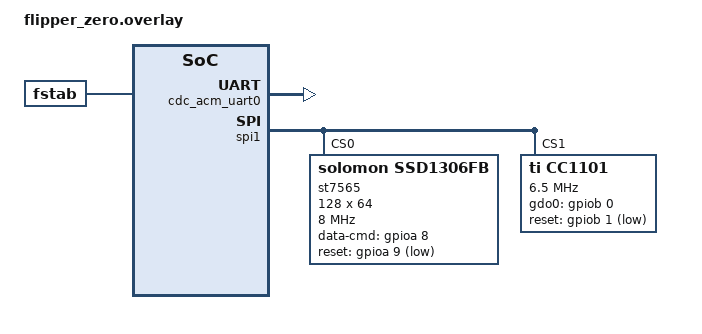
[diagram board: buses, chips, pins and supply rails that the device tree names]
/*
 * AkiraOS overlay for Flipper Zero
 *
 * Augments flipper_zero.dts with AkiraOS-specific configuration:
 *   - Flash partition table (MCUboot + OTA + NVS + LittleFS)
 *   - SPI device nodes (ST7565 display via SSD1306-compat driver, CC1101 sub-GHz)
 *   - LittleFS fstab
 *   - chosen node overrides (display, code-partition)
 *
 * Flash layout (1 MB, STM32WB55RG — wireless HCI firmware at ≥0x080DB000):
 *   0x000000  48KB  MCUboot bootloader
 *   0x00C000 400KB  Primary application slot (image-0)
 *   0x070000 400KB  OTA secondary slot (image-1)
 *   0x0D4000   8KB  NVS settings
 *   0x0D6000  20KB  LittleFS user storage  [→ ends at 0x0DB000]
 *   0x0DB000+       STM32WB M0+ BLE HCI-only wireless binary (unmanaged)
 *
 * Note: image must stay ≤ 399.5 KB (400 KB minus 512-byte MCUboot header).
 * With WAMR AOT-only (no interpreter), the AkiraOS image is ~340 KB.
 */

#include <zephyr/dt-bindings/input/input-event-codes.h>

/ {
	chosen {
		zephyr,code-partition = &slot0_partition;
		zephyr,display        = &st7565;
	};

	fstab {
		compatible = "zephyr,fstab";

		lfs1: lfs1 {
			compatible = "zephyr,fstab,littlefs";
			read-size      = <1>;
			prog-size      = <8>;
			cache-size     = <64>;
			lookahead-size = <32>;
			block-cycles   = <512>;
		partition      = <&lfs1_partition>;
			mount-point    = "/lfs";
		};
	};
};

&flash0 {
	partitions {
		compatible = "fixed-partitions";
		#address-cells = <1>;
		#size-cells = <1>;

		boot_partition: partition@0 {
			label = "mcuboot";
			reg = <0x00000000 DT_SIZE_K(48)>;
			read-only;
		};

		slot0_partition: partition@c000 {
			label = "image-0";
			reg = <0x0000c000 DT_SIZE_K(400)>;
		};

		slot1_partition: partition@70000 {
			label = "image-1";
			reg = <0x00070000 DT_SIZE_K(400)>;
		};

		akira_settings_nvs_partition: partition@d4000 {
			label = "akira_settings_nvs";
			reg = <0x000d4000 DT_SIZE_K(8)>;
		};

		storage_partition: lfs1_partition: partition@d6000 {
			label = "lfs_storage";
			reg = <0x000d6000 DT_SIZE_K(20)>;
		};
	};
};

&zephyr_udc0 {
	cdc_acm_uart0: cdc_acm_uart0 {
		compatible = "zephyr,cdc-acm-uart";
	};
};

&spi1 {
	st7565: st7565@0 {
		compatible = "solomon,ssd1306fb";
		reg = <0>;
		spi-max-frequency = <8000000>;
		width  = <128>;
		height = <64>;
		data-cmd-gpios = <&gpioa 8 GPIO_ACTIVE_HIGH>;
		reset-gpios     = <&gpioa 9 GPIO_ACTIVE_LOW>;
		segment-offset  = <0>;
		page-offset     = <0>;
		display-offset  = <0>;
		multiplex-ratio = <63>;
		prechargep      = <0x22>;
		segment-remap;
		com-invdir;
	};

	cc1101: cc1101@1 {
		compatible = "ti,cc1101";
		reg = <1>;
		spi-max-frequency = <6500000>;
		gdo0-gpios  = <&gpiob 0 (GPIO_PULL_DOWN | GPIO_ACTIVE_HIGH)>;
		reset-gpios = <&gpiob 1 GPIO_ACTIVE_LOW>;
		akira,default-frequency-hz = <433920000>;
		akira,default-tx-power-dbm = <10>;
		akira,default-bitrate-bps  = <4800>;
		akira,xosc-frequency-hz    = <26000000>;
	};
};
